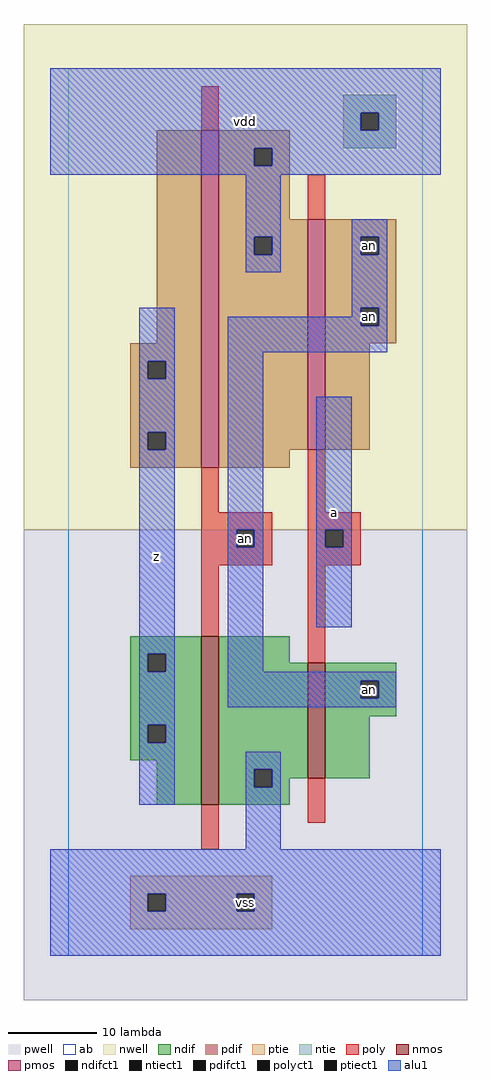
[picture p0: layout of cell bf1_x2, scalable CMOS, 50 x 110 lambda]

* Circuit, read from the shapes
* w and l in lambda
.subckt bf1_x2 a an vdd vss z
M1 vss an z vss nfet w=19 l=2
M2 an a vss vss nfet w=13 l=2
M3 vdd an z vdd pfet w=38 l=2
M4 an a vdd vdd pfet w=26 l=2
.ends

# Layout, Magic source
magic
tech scmos
<< ab >>
rect 0 0 40 100
<< nwell >>
rect -5 48 45 105
<< pwell >>
rect -5 -5 45 48
<< poly >>
rect 15 93 17 98
rect 27 83 29 88
rect 15 50 17 55
rect 27 50 29 57
rect 15 48 23 50
rect 15 46 19 48
rect 21 46 23 48
rect 15 44 23 46
rect 27 48 33 50
rect 27 46 29 48
rect 31 46 33 48
rect 27 44 33 46
rect 15 36 17 44
rect 27 33 29 44
rect 15 12 17 17
rect 27 15 29 20
<< ndif >>
rect 7 34 15 36
rect 7 32 9 34
rect 11 32 15 34
rect 7 26 15 32
rect 7 24 9 26
rect 11 24 15 26
rect 7 22 15 24
rect 10 17 15 22
rect 17 33 25 36
rect 17 21 27 33
rect 17 19 21 21
rect 23 20 27 21
rect 29 31 37 33
rect 29 29 33 31
rect 35 29 37 31
rect 29 27 37 29
rect 29 20 34 27
rect 23 19 25 20
rect 17 17 25 19
<< pdif >>
rect 10 69 15 93
rect 7 67 15 69
rect 7 65 9 67
rect 11 65 15 67
rect 7 59 15 65
rect 7 57 9 59
rect 11 57 15 59
rect 7 55 15 57
rect 17 91 25 93
rect 17 89 21 91
rect 23 89 25 91
rect 17 83 25 89
rect 17 81 27 83
rect 17 79 21 81
rect 23 79 27 81
rect 17 57 27 79
rect 29 81 37 83
rect 29 79 33 81
rect 35 79 37 81
rect 29 73 37 79
rect 29 71 33 73
rect 35 71 37 73
rect 29 69 37 71
rect 29 57 34 69
rect 17 55 25 57
<< alu1 >>
rect -2 95 42 100
rect -2 93 33 95
rect 35 93 42 95
rect -2 91 42 93
rect -2 89 21 91
rect 23 89 42 91
rect -2 88 42 89
rect 20 81 24 88
rect 20 79 21 81
rect 23 79 24 81
rect 20 77 24 79
rect 32 81 36 83
rect 32 79 33 81
rect 35 79 36 81
rect 32 73 36 79
rect 8 67 12 73
rect 32 72 33 73
rect 8 65 9 67
rect 11 65 12 67
rect 8 59 12 65
rect 8 57 9 59
rect 11 57 12 59
rect 8 34 12 57
rect 8 32 9 34
rect 11 32 12 34
rect 8 26 12 32
rect 18 71 33 72
rect 35 71 36 73
rect 18 68 36 71
rect 18 48 22 68
rect 18 46 19 48
rect 21 46 22 48
rect 18 32 22 46
rect 28 48 32 63
rect 28 46 29 48
rect 31 46 32 48
rect 28 37 32 46
rect 18 31 37 32
rect 18 29 33 31
rect 35 29 37 31
rect 18 28 37 29
rect 8 24 9 26
rect 11 24 12 26
rect 8 17 12 24
rect 20 21 24 23
rect 20 19 21 21
rect 23 19 24 21
rect 20 12 24 19
rect -2 7 42 12
rect -2 5 9 7
rect 11 5 19 7
rect 21 5 42 7
rect -2 0 42 5
<< ptie >>
rect 7 7 23 9
rect 7 5 9 7
rect 11 5 19 7
rect 21 5 23 7
rect 7 3 23 5
<< ntie >>
rect 31 95 37 97
rect 31 93 33 95
rect 35 93 37 95
rect 31 91 37 93
<< nmos >>
rect 15 17 17 36
rect 27 20 29 33
<< pmos >>
rect 15 55 17 93
rect 27 57 29 83
<< polyct1 >>
rect 19 46 21 48
rect 29 46 31 48
<< ndifct1 >>
rect 9 32 11 34
rect 9 24 11 26
rect 21 19 23 21
rect 33 29 35 31
<< ntiect1 >>
rect 33 93 35 95
<< ptiect1 >>
rect 9 5 11 7
rect 19 5 21 7
<< pdifct1 >>
rect 9 65 11 67
rect 9 57 11 59
rect 21 89 23 91
rect 21 79 23 81
rect 33 79 35 81
rect 33 71 35 73
<< labels >>
rlabel polyct1 20 47 20 47 6 an
rlabel ndifct1 34 30 34 30 6 an
rlabel pdifct1 34 80 34 80 6 an
rlabel pdifct1 34 72 34 72 6 an
rlabel ptiect1 20 6 20 6 6 vss
rlabel alu1 10 45 10 45 6 z
rlabel alu1 20 94 20 94 6 vdd
rlabel alu1 30 50 30 50 6 a
<< end >>
